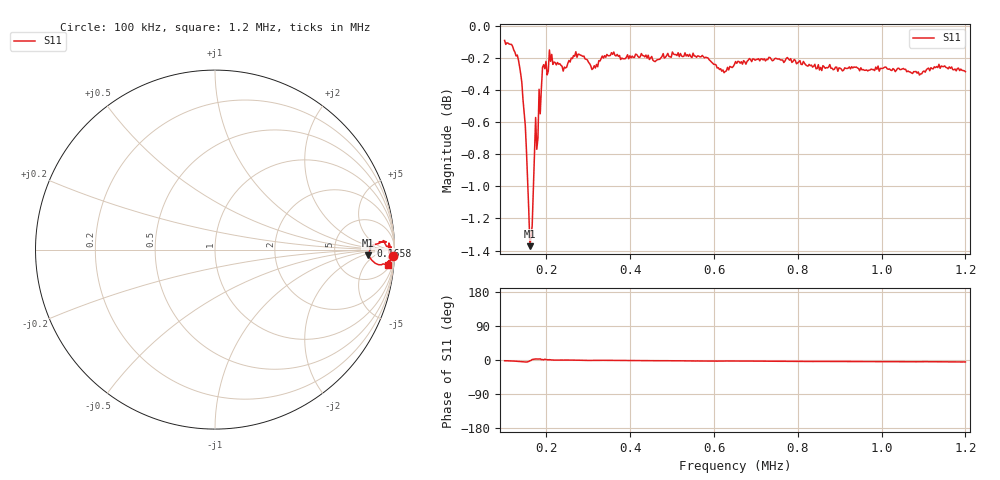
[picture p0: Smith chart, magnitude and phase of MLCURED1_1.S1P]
!Agilent Technologies,E5071C,MY46100265,A.07.02
!Date: Wed Mar 04 14:48:27 2020
!Data & Calibration Information:
!Freq	S11:SOLT1(ON)
# Hz S MA R 50
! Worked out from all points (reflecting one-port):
!   402 points, 100 kHz to 1.2 MHz, reference 50 ohm
!   lowest |S11| = -1.4 dB at 160.3 kHz (marker M1), VSWR 12.68, Z = 601 - j140 ohm
!   phase of S11 starts at -2 deg and turns -3 deg over the sweep
!   S11 on the Smith chart (normalised r, x): 100 kHz: 17, -54; 165.8 kHz: 14, +2; 1.2 MHz: 7, -20
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100000  0.9896 -1.9
119202  0.9853 -2.8
135661  0.9713 -4.2
143890  0.9485 -4.9
149377  0.9311 -5.2
154863  0.8958 -4.9
160349  0.8538 -2.1
165835  0.8664 1.3
171322  0.9113 2.1
176808  0.9153 2.6
179551  0.9224 2.7
193267  0.9726 0.5
201496  0.9654 0.8
215212  0.9727 0.1
239900  0.9681 -0.2
275561  0.9799 -0.7
311222  0.9699 -1.0
324938  0.9754 -0.7
377057  0.9762 -1.3
514214  0.9809 -2.2
596509  0.9736 -2.9
623940  0.967 -2.8
651372  0.9747 -2.6
788529  0.9748 -3.6
925686  0.9696 -4.0
1062843  0.9682 -4.5
1114963  0.9684 -4.5
1200000  0.9677 -5.1
